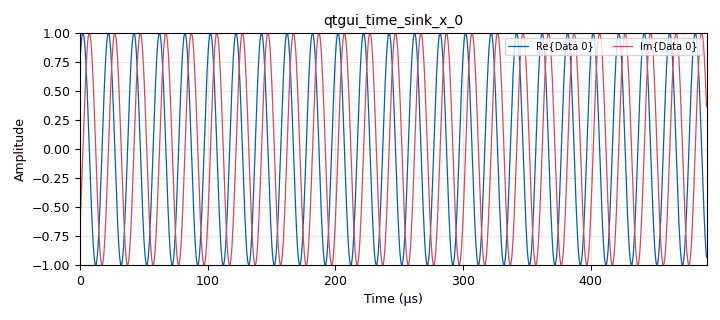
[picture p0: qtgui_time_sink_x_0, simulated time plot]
options:
  parameters:
    description: https://pnsaeta.github.io/Learning_SDR/lesson08a.html
    generate_options: qt_gui
    id: intro
    output_language: python
    title: GNURadio intro
  states: {}

blocks:
- name: rx_gain
  id: variable_qtgui_range
  parameters:
    start: '0'
    step: '1'
    stop: '70'
    value: '1'
  states: {}
- name: samp_rate
  id: variable
  parameters:
    value: '2084000'
  states: {}
- name: tone_freq
  id: variable_qtgui_range
  parameters:
    start: '-100000'
    step: '1'
    stop: '100000'
    value: '50000'
  states: {}
- name: analog_sig_source_x_0
  id: analog_sig_source_x
  parameters:
    amp: '1'
    freq: tone_freq
    offset: '0'
    phase: '0'
    samp_rate: samp_rate
    type: complex
    waveform: analog.GR_COS_WAVE
  states: {}
- name: iio_pluto_sink_0
  id: iio_pluto_sink
  parameters:
    attenuation1: '10.0'
    bandwidth: '20000000'
    buffer_size: '32768'
    cyclic: 'False'
    filter_source: '''Auto'''
    frequency: '2400000000'
    samplerate: samp_rate
    type: fc32
    uri: ip:192.168.2.1
  states: {}
- name: iio_pluto_source_0
  id: iio_pluto_source
  parameters:
    bandwidth: '20000000'
    bbdc: 'True'
    buffer_size: '32768'
    filter_source: '''Auto'''
    frequency: '2400000000'
    gain1: '''manual'''
    manual_gain1: rx_gain
    quadrature: 'True'
    rfdc: 'True'
    samplerate: samp_rate
    type: fc32
    uri: ip:192.168.2.1
  states: {}
- name: qtgui_freq_sink_x_0
  id: qtgui_freq_sink_x
  parameters:
    bw: samp_rate
    fc: '0'
    fftsize: '1024'
    type: complex
  states: {}
- name: qtgui_time_sink_x_0
  id: qtgui_time_sink_x
  parameters:
    size: '1024'
    srate: samp_rate
    type: complex
  states: {}
- name: qtgui_time_sink_x_1
  id: qtgui_time_sink_x
  parameters:
    size: '1024'
    srate: samp_rate
    type: complex
  states: {}

connections:
- [analog_sig_source_x_0, '0', iio_pluto_sink_0, '0']
- [analog_sig_source_x_0, '0', qtgui_time_sink_x_0, '0']
- [iio_pluto_source_0, '0', qtgui_freq_sink_x_0, '0']
- [iio_pluto_source_0, '0', qtgui_time_sink_x_1, '0']

metadata:
  file_format: 1
  grc_version: 3.10.9.2
